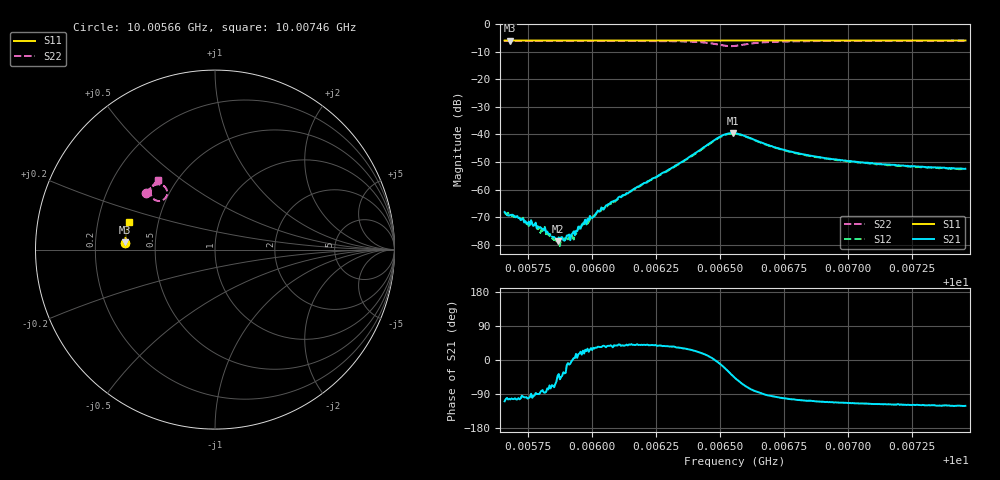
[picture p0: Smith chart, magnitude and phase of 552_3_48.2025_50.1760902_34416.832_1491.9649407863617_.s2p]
#  HZ  S  RI  R  50.00
! Rohde & Schwarz Vector Network Analyzer
! Rohde-Schwarz,ZNB20-2Port,1311601062101988,3.16
! Created: UTC 3/20/2024, 12:00:50 PM
! freq[Hz]  re:S11  im:S11  re:S21  im:S21  re:S12  im:S12  re:S22  im:S22
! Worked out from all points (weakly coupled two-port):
!   401 points, 10.00566 GHz to 10.00746 GHz, reference 50 ohm
!   highest |S21| = -39.50 dB at 10.00655 GHz (marker M1); lowest = -78.7 dB at 10.00587 GHz (marker M2)
!   lowest |S11| = -6.0 dB at 10.00568 GHz (marker M3), VSWR 3.01, Z = 16.6 + j1.81 ohm
!   |S11| at or under -10 dB: nowhere
!   |S22| runs from -8.0 to -6.0 dB; largest |S21 - S12| = 0.00066
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1.0005659e10  -0.5 0.0393  -0.000128 -0.000371  -4.84e-05 -0.000359  -0.3841 0.3157
1.0005682e10  -0.4999 0.0407  -8.52e-05 -0.000338  -5.95e-05 -0.000352  -0.383 0.3171
1.0005731e10  -0.4997 0.0439  -3.6e-05 -0.000296  -4.82e-05 -0.000306  -0.3806 0.3199
1.0005749e10  -0.4997 0.0452  -4.96e-05 -0.000234  -2.77e-05 -0.000234  -0.3798 0.321
1.0005772e10  -0.4996 0.0466  -1.91e-05 -0.000219  -3.4e-05 -0.000227  -0.3787 0.3224
1.0005799e10  -0.4996 0.0484  1.79e-05 -0.000208  2.77e-05 -0.000162  -0.3772 0.3241
1.0005821e10  -0.4996 0.0498  1.67e-05 -0.000165  3.53e-05 -0.000152  -0.3761 0.3255
1.0005835e10  -0.4993 0.0507  6.11e-05 -0.000145  5.32e-05 -0.000137  -0.3756 0.3263
1.0005866e10  -0.499 0.0526  8.65e-05 -7.8e-05  7.83e-05 -8.83e-05  -0.3738 0.3284
1.0005898e10  -0.499 0.0548  0.000105 -7.1e-05  0.000125 -6.52e-05  -0.372 0.3303
1.0005929e10  -0.4988 0.0569  0.000175 1.6e-05  0.000125 2.31e-06  -0.3703 0.3324
1.0005961e10  -0.4986 0.0587  0.000222 5.65e-05  0.000209 0.000102  -0.3684 0.3344
1.0006069e10  -0.498 0.0658  0.000436 0.00033  0.00041 0.000354  -0.3612 0.3417
1.0006262e10  -0.4965 0.0785  0.00144 0.00113  0.00136 0.00117  -0.3418 0.3564
1.0006496e10  -0.4936 0.0936  0.00879 -0.00122  0.00868 -0.000699  -0.2675 0.3292
1.000655e10  -0.4931 0.0962  0.00791 -0.00705  0.00814 -0.00644  -0.2861 0.2788
1.0006559e10  -0.4929 0.0967  0.00713 -0.00771  0.00743 -0.00715  -0.2948 0.2741
1.0006631e10  -0.4928 0.101  0.00135 -0.00802  0.00175 -0.00781  -0.3472 0.287
1.000673e10  -0.4919 0.1077  -0.000844 -0.00553  -0.000596 -0.00546  -0.3585 0.3206
1.0006861e10  -0.4904 0.1161  -0.00128 -0.00388  -0.00107 -0.00386  -0.3531 0.3432
1.0007162e10  -0.4863 0.1351  -0.00129 -0.00253  -0.00116 -0.00252  -0.3357 0.3692
1.0007459e10  -0.4812 0.1536  -0.00124 -0.00205  -0.00113 -0.00207  -0.3199 0.3861
